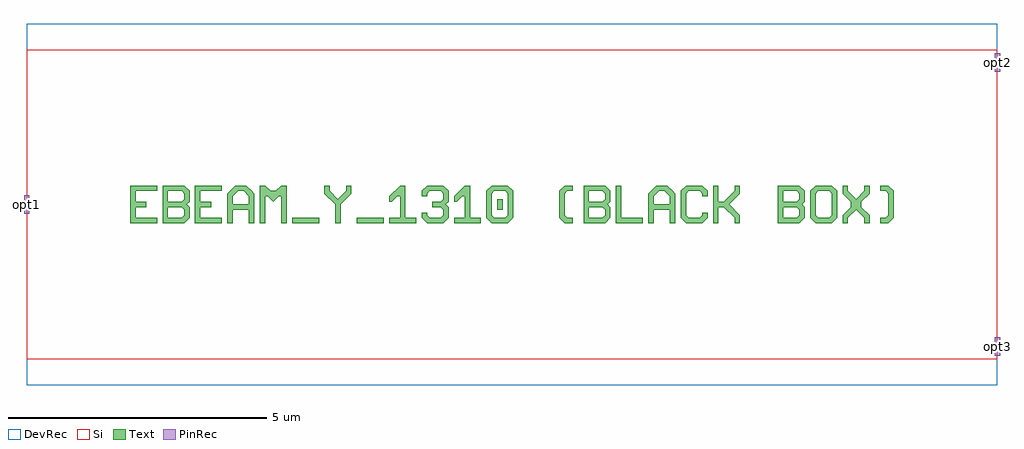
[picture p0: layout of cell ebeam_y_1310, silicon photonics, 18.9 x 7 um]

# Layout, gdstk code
import gdstk
lib = gdstk.Library(unit=1e-6, precision=1e-09)
def R(c, l, rs):  # rectangles x0, y0, x1, y1
    for r in rs: c.add(gdstk.rectangle(r[:2], r[2:], *l))
def P(c, l, *ps):  # polygons
    for p in ps: c.add(gdstk.Polygon(p, *l))
Si = (1, 0)
PinRec = (1, 10)
Text = (10, 0)
DevRec = (68, 0)

text = lib.new_cell('TEXT')
R(text, Text, [(3.135,0,3.657,0.104), (4.389,0,4.911,0.104), (7.106,0.261,7.21,0.47)])
P(text, Text, [(0,0),(0,0.731),(0.522,0.731),(0.522,0.627),(0.104,0.627),(0.104,0.418),(0.313,0.418),(0.313,0.313),(0.104,0.313),(0.104,0.104),(0.522,0.104),(0.522,0)],
  [(0.627,0),(0.627,0.731),(1.045,0.731),(1.149,0.627),(0.731,0.627),(0.731,0.418),(0.993,0.418),(1.045,0.47),(1.045,0.574),(0.993,0.627),(1.149,0.627),(1.149,0.418),(1.097,0.366),(1.149,0.313),(0.731,0.313),(0.731,0.104),(0.993,0.104),(1.045,0.157),(1.045,0.261),(0.993,0.313),(1.149,0.313),(1.149,0.104),(1.045,0)],
  [(1.254,0),(1.254,0.731),(1.776,0.731),(1.776,0.627),(1.358,0.627),(1.358,0.418),(1.567,0.418),(1.567,0.313),(1.358,0.313),(1.358,0.104),(1.776,0.104),(1.776,0)],
  [(1.881,0),(1.881,0.574),(2.038,0.731),(2.247,0.731),(2.351,0.627),(2.09,0.627),(1.985,0.522),(1.985,0.366),(2.299,0.366),(2.299,0.522),(2.194,0.627),(2.351,0.627),(2.403,0.574),(2.403,0),(2.299,0),(2.299,0.261),(1.985,0.261),(1.985,0)],
  [(2.508,0),(2.508,0.731),(2.612,0.731),(2.717,0.627),(2.821,0.627),(2.926,0.731),(3.03,0.731),(3.03,0),(2.926,0),(2.926,0.522),(2.874,0.522),(2.769,0.418),(2.665,0.522),(2.612,0.522),(2.612,0)],
  [(3.971,0),(3.971,0.366),(3.762,0.574),(3.762,0.731),(3.866,0.731),(3.866,0.627),(4.023,0.47),(4.18,0.627),(4.18,0.731),(4.284,0.731),(4.284,0.574),(4.075,0.366),(4.075,0)],
  [(5.016,0),(5.016,0.104),(5.225,0.104),(5.225,0.522),(5.173,0.522),(5.068,0.418),(5.016,0.418),(5.016,0.522),(5.225,0.731),(5.329,0.731),(5.329,0.104),(5.538,0.104),(5.538,0)],
  [(5.747,0),(5.643,0.104),(5.643,0.209),(5.747,0.209),(5.747,0.157),(5.8,0.104),(6.009,0.104),(6.061,0.157),(6.061,0.261),(6.009,0.313),(5.852,0.313),(5.852,0.418),(6.009,0.418),(6.061,0.47),(6.061,0.574),(6.009,0.627),(5.8,0.627),(5.747,0.574),(5.747,0.522),(5.643,0.522),(5.643,0.627),(5.747,0.731),(6.061,0.731),(6.165,0.627),(6.165,0.418),(6.113,0.366),(6.165,0.313),(6.165,0.104),(6.061,0)],
  [(6.27,0),(6.27,0.104),(6.479,0.104),(6.479,0.522),(6.427,0.522),(6.322,0.418),(6.27,0.418),(6.27,0.522),(6.479,0.731),(6.583,0.731),(6.583,0.104),(6.792,0.104),(6.792,0)],
  [(7.001,0),(6.897,0.104),(6.897,0.627),(7.001,0.731),(7.315,0.731),(7.419,0.627),(7.054,0.627),(7.001,0.574),(7.001,0.157),(7.054,0.104),(7.263,0.104),(7.315,0.157),(7.315,0.574),(7.263,0.627),(7.419,0.627),(7.419,0.104),(7.315,0)],
  [(8.412,0),(8.308,0.104),(8.308,0.627),(8.412,0.731),(8.569,0.731),(8.569,0.627),(8.464,0.627),(8.412,0.574),(8.412,0.157),(8.464,0.104),(8.569,0.104),(8.569,0)],
  [(8.778,0),(8.778,0.731),(9.196,0.731),(9.3,0.627),(8.882,0.627),(8.882,0.418),(9.144,0.418),(9.196,0.47),(9.196,0.574),(9.144,0.627),(9.3,0.627),(9.3,0.418),(9.248,0.366),(9.3,0.313),(8.882,0.313),(8.882,0.104),(9.144,0.104),(9.196,0.157),(9.196,0.261),(9.144,0.313),(9.3,0.313),(9.3,0.104),(9.196,0)],
  [(9.405,0),(9.405,0.731),(9.509,0.731),(9.509,0.104),(9.927,0.104),(9.927,0)],
  [(10.032,0),(10.032,0.574),(10.189,0.731),(10.398,0.731),(10.502,0.627),(10.241,0.627),(10.136,0.522),(10.136,0.366),(10.45,0.366),(10.45,0.522),(10.345,0.627),(10.502,0.627),(10.554,0.574),(10.554,0),(10.45,0),(10.45,0.261),(10.136,0.261),(10.136,0)],
  [(10.763,0),(10.659,0.104),(10.659,0.627),(10.763,0.731),(11.077,0.731),(11.181,0.627),(11.181,0.522),(11.077,0.522),(11.077,0.574),(11.025,0.627),(10.816,0.627),(10.763,0.574),(10.763,0.157),(10.816,0.104),(11.025,0.104),(11.077,0.157),(11.077,0.209),(11.181,0.209),(11.181,0.104),(11.077,0)],
  [(11.286,0),(11.286,0.731),(11.39,0.731),(11.39,0.418),(11.495,0.418),(11.704,0.627),(11.704,0.731),(11.808,0.731),(11.808,0.574),(11.599,0.366),(11.808,0.157),(11.808,0),(11.704,0),(11.704,0.104),(11.495,0.313),(11.39,0.313),(11.39,0)],
  [(12.54,0),(12.54,0.731),(12.958,0.731),(13.062,0.627),(12.644,0.627),(12.644,0.418),(12.906,0.418),(12.958,0.47),(12.958,0.574),(12.906,0.627),(13.062,0.627),(13.062,0.418),(13.01,0.366),(13.062,0.313),(12.644,0.313),(12.644,0.104),(12.906,0.104),(12.958,0.157),(12.958,0.261),(12.906,0.313),(13.062,0.313),(13.062,0.104),(12.958,0)],
  [(13.271,0),(13.167,0.104),(13.167,0.627),(13.271,0.731),(13.585,0.731),(13.689,0.627),(13.689,0.366),(13.585,0.366),(13.585,0.574),(13.533,0.627),(13.324,0.627),(13.271,0.574),(13.271,0.157),(13.324,0.104),(13.533,0.104),(13.585,0.157),(13.585,0.366),(13.689,0.366),(13.689,0.104),(13.585,0)],
  [(13.794,0),(13.794,0.157),(13.951,0.313),(13.951,0.418),(13.794,0.574),(13.794,0.731),(13.898,0.731),(13.898,0.627),(14.055,0.47),(14.212,0.627),(14.212,0.731),(14.316,0.731),(14.316,0.574),(14.16,0.418),(14.16,0.313),(14.316,0.157),(14.316,0),(14.212,0),(14.212,0.104),(14.055,0.261),(13.898,0.104),(13.898,0)],
  [(14.525,0),(14.525,0.104),(14.63,0.104),(14.682,0.157),(14.682,0.574),(14.63,0.627),(14.525,0.627),(14.525,0.731),(14.682,0.731),(14.787,0.627),(14.787,0.104),(14.682,0)])

ebeam_y_1310 = lib.new_cell('ebeam_y_1310')
R(ebeam_y_1310, Si, [(-9.4,-3,9.4,3)])
R(ebeam_y_1310, DevRec, [(-9.4,-3.5,9.4,3.5)])
ebeam_y_1310.add(gdstk.FlexPath([(9.35,2.75),(9.45,2.75)], 0.35, ends="flush", simple_path=True, layer=1, datatype=10))  # PinRec
ebeam_y_1310.add(gdstk.FlexPath([(9.35,-2.75),(9.45,-2.75)], 0.35, ends="flush", simple_path=True, layer=1, datatype=10))  # PinRec
ebeam_y_1310.add(gdstk.FlexPath([(-9.35,0),(-9.45,0)], 0.35, ends="flush", simple_path=True, layer=1, datatype=10))  # PinRec
ebeam_y_1310.add(gdstk.Reference(text, (-7.393,-0.365)))
ebeam_y_1310.add(gdstk.Label('opt2', (9.4,2.75), layer=1, texttype=10))
ebeam_y_1310.add(gdstk.Label('opt3', (9.4,-2.75), layer=1, texttype=10))
ebeam_y_1310.add(gdstk.Label('opt1', (-9.4,0), layer=1, texttype=10))

lib.write_gds('ebeam_y_1310.gds')
